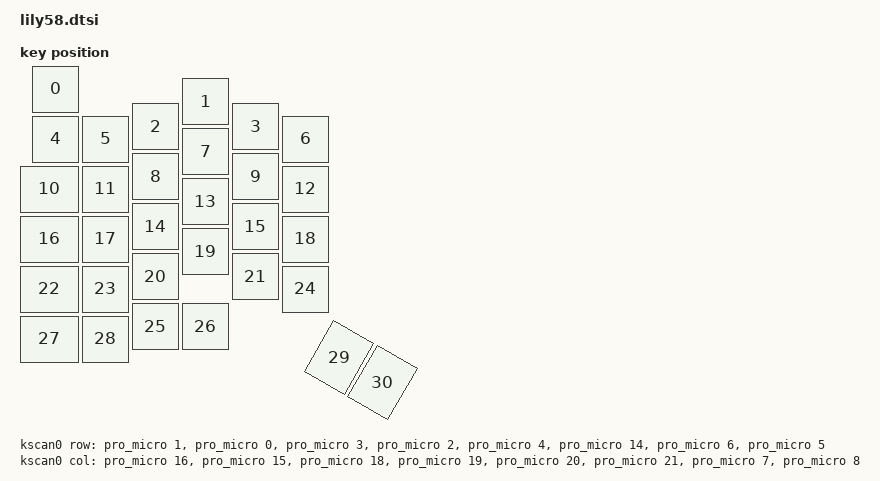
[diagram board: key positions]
#include <dt-bindings/zmk/matrix-transform.h>
#include <physical_layouts.dtsi>

/ {
    chosen {
        zmk,kscan = <&kscan0>;
        zmk,matrix_transform = <&matrix_transform0>;
    };

    /* -------------------------------------------------
     *  KSCAN (rows / columns)
     * ------------------------------------------------- */
    kscan0: kscan {
        compatible = "zmk,kscan-gpio-matrix";
        label = "KSCAN";

        diode-direction = <col2row>;

        row-gpios =
            <&pro_micro 1 (GPIO_ACTIVE_HIGH | GPIO_PULL_DOWN)>,
            <&pro_micro 0 (GPIO_ACTIVE_HIGH | GPIO_PULL_DOWN)>,
            <&pro_micro 3 (GPIO_ACTIVE_HIGH | GPIO_PULL_DOWN)>,
            <&pro_micro 2 (GPIO_ACTIVE_HIGH | GPIO_PULL_DOWN)>,
            <&pro_micro 4 (GPIO_ACTIVE_HIGH | GPIO_PULL_DOWN)>,
            <&pro_micro 14 (GPIO_ACTIVE_HIGH | GPIO_PULL_DOWN)>,
            <&pro_micro  6 (GPIO_ACTIVE_HIGH | GPIO_PULL_DOWN)>,
            <&pro_micro  5 (GPIO_ACTIVE_HIGH | GPIO_PULL_DOWN)>;

        col-gpios =
            <&pro_micro 16 (GPIO_ACTIVE_HIGH | GPIO_PULL_UP)>,
            <&pro_micro 15 (GPIO_ACTIVE_HIGH | GPIO_PULL_UP)>,
            <&pro_micro 18 (GPIO_ACTIVE_HIGH | GPIO_PULL_UP)>,
            <&pro_micro 19 (GPIO_ACTIVE_HIGH | GPIO_PULL_UP)>,
            <&pro_micro 20 (GPIO_ACTIVE_HIGH | GPIO_PULL_UP)>,
            <&pro_micro 21 (GPIO_ACTIVE_HIGH | GPIO_PULL_UP)>,
            <&pro_micro 7 (GPIO_ACTIVE_HIGH | GPIO_PULL_UP)>,
            <&pro_micro 8 (GPIO_ACTIVE_HIGH | GPIO_PULL_UP)>;
    };

    /* -------------------------------------------------
     *  LEFT-HALF physical layout (as you supplied)
     * ------------------------------------------------- */
    physical_layout0: myshield_left {
        compatible = "zmk,physical-layout";
        display-name = "Left Half";
        kscan = <&kscan0>;
        transform = <&matrix_transform0>;

        keys // w h x y rot rx ry
            = <&key_physical_attrs 100 100  25   0 0 0 0>
            , <&key_physical_attrs 100 100 325  25 0 0 0>
            , <&key_physical_attrs 100 100 225  75 0 0 0>
            , <&key_physical_attrs 100 100 425  75 0 0 0>
            , <&key_physical_attrs 100 100  25 100 0 0 0>
            , <&key_physical_attrs 100 100 125 100 0 0 0>
            , <&key_physical_attrs 100 100 525 100 0 0 0>
            , <&key_physical_attrs 100 100 325 125 0 0 0>
            , <&key_physical_attrs 100 100 225 175 0 0 0>
            , <&key_physical_attrs 100 100 425 175 0 0 0>
            , <&key_physical_attrs 125 100   0 200 0 0 0>
            , <&key_physical_attrs 100 100 125 200 0 0 0>
            , <&key_physical_attrs 100 100 525 200 0 0 0>
            , <&key_physical_attrs 100 100 325 225 0 0 0>
            , <&key_physical_attrs 100 100 225 275 0 0 0>
            , <&key_physical_attrs 100 100 425 275 0 0 0>
            , <&key_physical_attrs 125 100   0 300 0 0 0>
            , <&key_physical_attrs 100 100 125 300 0 0 0>
            , <&key_physical_attrs 100 100 525 300 0 0 0>
            , <&key_physical_attrs 100 100 325 325 0 0 0>
            , <&key_physical_attrs 100 100 225 375 0 0 0>
            , <&key_physical_attrs 100 100 425 375 0 0 0>
            , <&key_physical_attrs 125 100   0 400 0 0 0>
            , <&key_physical_attrs 100 100 125 400 0 0 0>
            , <&key_physical_attrs 100 100 525 400 0 0 0>
            , <&key_physical_attrs 100 100 225 475 0 0 0>
            , <&key_physical_attrs 100 100 325 475 0 0 0>
            , <&key_physical_attrs 125 100   0 500 0 0 0>
            , <&key_physical_attrs 100 100 125 500 0 0 0>
            , <&key_physical_attrs 100 125 800 125 3000 0 0>
            , <&key_physical_attrs 100 125 900 125 3000 0 0>;
    };

    /* -------------------------------------------------
     *  RIGHT-HALF – mirrored automatically
     * ------------------------------------------------- */
    physical_layout1: myshield_right {
        compatible = "zmk,physical-layout";
        display-name = "Right Half";
        kscan = <&kscan0>;
        transform = <&matrix_transform_mirror>;
    };

    /* -------------------------------------------------
     *  Split configuration
     * ------------------------------------------------- */
    split {
        compatible = "zmk,split";
        central = <&physical_layout0>;
        peripheral = <&physical_layout1>;
    };
};
